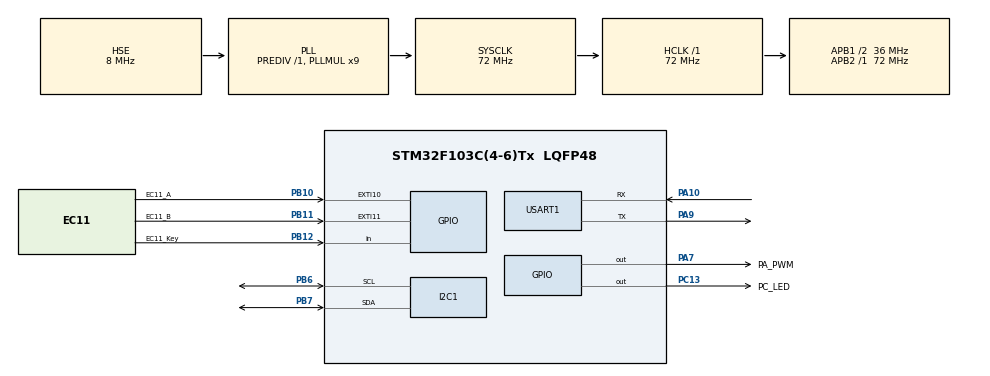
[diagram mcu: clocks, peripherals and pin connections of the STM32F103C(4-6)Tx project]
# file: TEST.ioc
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Mcu.Family=STM32F1
Mcu.Name=STM32F103C(4-6)Tx
Mcu.Package=LQFP48
NVIC.EXTI15_10_IRQn=true\:0\:0\:false\:false\:true\:true\:true\:true
NVIC.PriorityGroup=NVIC_PRIORITYGROUP_4
PA10.Mode=Asynchronous
PA10.Signal=USART1_RX
PA13.Mode=Serial_Wire
PA13.Signal=SYS_JTMS-SWDIO
PA14.Mode=Serial_Wire
PA14.Signal=SYS_JTCK-SWCLK
PA7.GPIO_Label=PA_PWM
PA7.GPIO_PuPd=GPIO_PULLUP
PA7.GPIO_Speed=GPIO_SPEED_FREQ_HIGH
PA7.Signal=GPIO_Output
PA9.Mode=Asynchronous
PA9.Signal=USART1_TX
PB10.GPIO_Label=EC11_A
PB10.GPIO_ModeDefaultEXTI=GPIO_MODE_IT_RISING_FALLING
PB10.GPIO_PuPd=GPIO_PULLUP
PB10.Signal=GPXTI10
PB11.GPIO_Label=EC11_B
PB11.GPIO_ModeDefaultEXTI=GPIO_MODE_IT_FALLING
PB11.GPIO_PuPd=GPIO_PULLUP
PB11.Signal=GPXTI11
PB12.GPIO_Label=EC11_Key
PB12.GPIO_Mode=GPIO_MODE_INPUT
PB12.GPIO_PuPd=GPIO_PULLUP
PB12.Signal=GPIO_Input
PB6.Mode=I2C
PB6.Signal=I2C1_SCL
PB7.Mode=I2C
PB7.Signal=I2C1_SDA
PC13-TAMPER-RTC.GPIO_Label=PC_LED
PC13-TAMPER-RTC.GPIO_ModeDefaultOutputPP=GPIO_MODE_OUTPUT_PP
PC13-TAMPER-RTC.GPIO_PuPd=GPIO_PULLUP
PC13-TAMPER-RTC.GPIO_Speed=GPIO_SPEED_FREQ_LOW
PC13-TAMPER-RTC.Signal=GPIO_Output
PC14-OSC32_IN.Mode=LSE-External-Oscillator
PC14-OSC32_IN.Signal=RCC_OSC32_IN
PC15-OSC32_OUT.Mode=LSE-External-Oscillator
PC15-OSC32_OUT.Signal=RCC_OSC32_OUT
PD0-OSC_IN.Mode=HSE-External-Oscillator
PD0-OSC_IN.Signal=RCC_OSC_IN
PD1-OSC_OUT.Mode=HSE-External-Oscillator
PD1-OSC_OUT.Signal=RCC_OSC_OUT
ProjectManager.HeapSize=0x200
ProjectManager.StackSize=0x400
ProjectManager.TargetToolchain=EWARM V8.32
RCC.AHBFreq_Value=72000000
RCC.APB1CLKDivider=RCC_HCLK_DIV2
RCC.APB1Freq_Value=36000000
RCC.APB1TimFreq_Value=72000000
RCC.APB2Freq_Value=72000000
RCC.APB2TimFreq_Value=72000000
RCC.HCLKFreq_Value=72000000
RCC.PLLMUL=RCC_PLL_MUL9
RCC.PLLSourceVirtual=RCC_PLLSOURCE_HSE
RCC.SYSCLKFreq_VALUE=72000000
RCC.SYSCLKSource=RCC_SYSCLKSOURCE_PLLCLK
RCC.USBFreq_Value=72000000
USART1.VirtualMode=VM_ASYNC
board=custom

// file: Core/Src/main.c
/* USER CODE BEGIN Header */
/**
 ******************************************************************************
 * @file           : main.c
 * @brief          : Main program body
 ******************************************************************************
 * @attention
 *
 * Copyright (c) 2024 STMicroelectronics.
 * All rights reserved.
 *
 * This software is licensed under terms that can be found in the LICENSE file
 * in the root directory of this software component.
 * If no LICENSE file comes with this software, it is provided AS-IS.
 *
 ******************************************************************************
 */
/* USER CODE END Header */
#include "main.h"
#include "i2c.h"
#include "usart.h"
#include "gpio.h"

/* USER CODE BEGIN Includes */
#include "key.h"
#include "oled.h"
/* USER CODE END Includes */

/* USER CODE BEGIN PD */
#define num_line(y, num, rgb) OLED_ShowNum(48, y, num, 2, 16, rgb)
#define string_line(y) OLED_ShowString(72, y, "ms", 16, 0)
#define FLASH_STORAGE_ADDRESS ((uint32_t)0x08007000)
/* USER CODE END PD */

/* USER CODE BEGIN PV */
int optionIndex = 0;           // 菜单索引
int timeValues[3] = {0, 0, 0}; // 脉冲长度
int count_num;
int32_t test_num = 0; // 支持正负数�?�增�???????
uint8_t dir_flag = 2; /*  方向标志 0: 顺时 1: 逆时 2: 未动*/
// uint8_t key_click_flag = 0; // EC11 中键

unsigned short key_value;
/* USER CODE END PV */

void SystemClock_Config(void);
/* USER CODE BEGIN PFP */
void HAL_GPIO_EXTI_Callback(uint16_t GPIO_Pin)
{
  /* Prevent unused argument(s) compilation warning */
  UNUSED(GPIO_Pin);
  static uint8_t count = 0;
  static uint8_t b_flag;
  GPIO_PinState a_value = HAL_GPIO_ReadPin(EC11_A_GPIO_Port, EC11_A_Pin);
  GPIO_PinState b_value = HAL_GPIO_ReadPin(EC11_B_GPIO_Port, EC11_B_Pin);

  if (GPIO_Pin == EC11_A_Pin)
  {
    if (a_value == RESET && count == 0)
    {
      b_flag = 0;
      if (b_value)
        b_flag = 1;
      count = 1;
    }

    if (a_value == SET && count == 1)
    {
      if (b_value == RESET && b_flag == 1)
      { // 逆时针转�???
        test_num--;
        timeValues[optionIndex] = timeValues[optionIndex] > 0 ? timeValues[optionIndex] - 1 : 0;
        dir_flag = 1;
      }
      if (b_value && b_flag == 0)
      { // 顺时针转�???
        test_num++;
        timeValues[optionIndex]++;
        dir_flag = 0;
      }
      count = 0;
    }
  }

  /* EC11中键，按键中�????? */
  // if(GPIO_Pin == EC11_KEY_Pin)
  // {
  // key_click_flag = 1;
  // }
}

// 写入Flash的函�???
HAL_StatusTypeDef WriteToFlash(uint32_t Address, uint32_t Data)
{
  HAL_FLASH_Unlock(); // 解锁Flash
  uint32_t PageError = 0;
  FLASH_EraseInitTypeDef EraseInitStruct;
  EraseInitStruct.TypeErase = FLASH_TYPEERASE_PAGES;
  EraseInitStruct.PageAddress = Address;
  EraseInitStruct.NbPages = 1;                     // 根据您的Flash页大小，这里假设�???1�???
  HAL_FLASHEx_Erase(&EraseInitStruct, &PageError); // 擦除页面
  if (PageError != 0xFFFFFFFF)
  {
    HAL_FLASH_Lock(); // 上锁Flash
    return HAL_ERROR;
  }
  HAL_StatusTypeDef status = HAL_FLASH_Program(FLASH_TYPEPROGRAM_WORD, Address, Data);
  HAL_FLASH_Lock(); // 上锁Flash
  return status;
}

// 从Flash读取数据的函�???
uint32_t ReadFromFlash(uint32_t Address)
{
  return *(__IO uint32_t *)Address; // 直接从指定地�???读取数据
}

/* USER CODE END PFP */

int main(void)
{

  /* USER CODE BEGIN 1 */
  HAL_StatusTypeDef HAL_UART_STATUS;
  uint32_t tick2, tick3;

  /* USER CODE END 1 */

  /* MCU Configuration--------------------------------------------------------*/

  /* Reset of all peripherals, Initializes the Flash interface and the Systick. */
  HAL_Init();

  /* Configure the system clock */
  SystemClock_Config();

  /* Initialize all configured peripherals */
  MX_GPIO_Init();
  MX_USART1_UART_Init();
  MX_I2C1_Init();
  /* USER CODE BEGIN 2 */
  // ######################################################################################################
  uint32_t Main_Fosc = HAL_RCC_GetSysClockFreq();
  printf("Main_Fosc:%luHz \r\n", Main_Fosc);

  uint8_t *str = (uint8_t *)"串口通信测试\r\n";
  HAL_UART_STATUS = HAL_UART_Transmit(&huart1, str, strlen((char *)str), HAL_MAX_DELAY);

  if (HAL_UART_STATUS == HAL_OK)
  {
    str = (uint8_t *)"success\r\n";
    HAL_UART_Transmit(&huart1, str, strlen((char *)str), HAL_MAX_DELAY);
  }

  // 从Flash读取变量
  uint32_t read_value = ReadFromFlash(FLASH_STORAGE_ADDRESS);
  count_num = (int)read_value > 0 ? (int)read_value : 0; // 将读取的值转换回原来的类�???

  HAL_GPIO_WritePin(PA_PWM_GPIO_Port, PA_PWM_Pin, GPIO_PIN_RESET);

  OLED_Init();  // OLED初始
  OLED_Clear(); // 清屏
  // 正相显示6X8--�???12�???0�???  反相显示8X16--�???16�???1�???

  // 显示汉字“脉冲一�???
  OLED_ShowCHinese(0, 0, 0, 0);
  OLED_ShowCHinese(16, 0, 1, 0);
  OLED_ShowCHinese(32, 0, 2, 0);
  num_line(0, 0, 0);
  string_line(0);
  // 显示汉字“间隔�??
  OLED_ShowCHinese(0, 2, 4, 0);
  OLED_ShowCHinese(32, 2, 5, 0);
  num_line(2, 0, 0);
  string_line(2);
  // 显示汉字“脉冲二�???
  OLED_ShowCHinese(0, 4, 0, 0);
  OLED_ShowCHinese(16, 4, 1, 0);
  OLED_ShowCHinese(32, 4, 3, 0);
  num_line(4, 0, 0);
  string_line(4);
  // 显示汉字“计数�??
  OLED_ShowCHinese(0, 6, 6, 0);
  OLED_ShowCHinese(32, 6, 7, 0);
  OLED_ShowNum(56, 6, count_num, 3, 16, 0);
  OLED_ShowNum(96, 0, 1, 1, 12, 0);
  //  #
  //  ######################################################################################################

  /* USER CODE END 2 */

  /* Infinite loop */
  while (1)
  {

    /* USER CODE BEGIN 3 */
    // ######################################################################################################
    if (dir_flag != 2)
    {
      switch (dir_flag)
      {
      case 0:
        printf("顺时针转动\r\n");
        break;
      case 1:
        printf("逆时针转动\r\n");
        break;
      }
      dir_flag = 2;
      printf("num: %d\r\n", test_num);
      num_line(optionIndex * 2, timeValues[optionIndex], 0);
    }
    if (HAL_GetTick() - tick2 >= 1)
    {
      tick2 = HAL_GetTick();
      key_check_all_loop_1ms();
    }
    /* Key按键按下查询 */
    if (HAL_GetTick() - tick3 >= 10)
    {
      tick3 = HAL_GetTick();
      key_value = key_read_value();

      if (key_value == KEY0_UP_SHORT)
      { // 单击事件 切换索引
        printf("\r\nEC11单击\r\n");
        HAL_GPIO_TogglePin(PC_LED_GPIO_Port, PC_LED_Pin);
        optionIndex = (optionIndex + 1) % 3;
        OLED_ShowNum(96, 0, optionIndex + 1, 1, 12, 0);
        // 实现单击KEY
        // test_num++;
      }
      else if (key_value == KEY0_UP_DOUBLE)
      { // 双击事件 切换索引
        printf("\r\nEC11双击\r\n");
        HAL_GPIO_TogglePin(PC_LED_GPIO_Port, PC_LED_Pin);
        timeValues[optionIndex] = 0;
        printf("按键计数清零,项目�???%d val�???%d ms\r\n", optionIndex + 1, timeValues[optionIndex]);
        num_line(optionIndex * 2, 0, 0);
      }
      else if (key_value == KEY0_LONG)
      { // 长按事件 触发脉冲
        printf("\r\nEC11长按\r\n");
        // 实现长按KEY
        count_num++;
        //  双脉�???
        if (timeValues[0] > 0 && timeValues[2] > 0)
        {
          HAL_GPIO_WritePin(PA_PWM_GPIO_Port, PA_PWM_Pin, GPIO_PIN_SET);
          HAL_Delay(timeValues[0]);
          HAL_GPIO_WritePin(PA_PWM_GPIO_Port, PA_PWM_Pin, GPIO_PIN_RESET);
          HAL_Delay(timeValues[1]);
          HAL_GPIO_WritePin(PA_PWM_GPIO_Port, PA_PWM_Pin, GPIO_PIN_SET);
          HAL_Delay(timeValues[2]);
          HAL_GPIO_WritePin(PA_PWM_GPIO_Port, PA_PWM_Pin, GPIO_PIN_RESET);
          // 存储变量到Flash
          if (WriteToFlash(FLASH_STORAGE_ADDRESS, (uint32_t)count_num) != HAL_OK)
          {
            // 处理错误
            printf("\r\n写入数据失败\r\n");
          }
          OLED_ShowNum(56, 6, count_num, 3, 16, 0);
        }
        // 单脉�???
        else if (timeValues[0] > 0)
        {
          HAL_GPIO_WritePin(PA_PWM_GPIO_Port, PA_PWM_Pin, GPIO_PIN_SET);
          HAL_Delay(timeValues[0]);
          HAL_GPIO_WritePin(PA_PWM_GPIO_Port, PA_PWM_Pin, GPIO_PIN_RESET);
          // 存储变量到Flash
          if (WriteToFlash(FLASH_STORAGE_ADDRESS, (uint32_t)count_num) != HAL_OK)
          {
            // 处理错误
            printf("\r\n写入数据失败\r\n");
          }
          OLED_ShowNum(56, 6, count_num, 3, 16, 0);
        }
      }
      // 按钮二
      if (key_value == KEY1_UP_SHORT)
      { // 单击事件
        printf("\r\n按钮单击\r\n");
      }
      else if (key_value == KEY1_UP_DOUBLE)
      { // 双击事件
        printf("\r\n按钮双击\r\n");
      }
      else if (key_value == KEY1_LONG)
      { // 长按事件 触发脉冲
        printf("\r\n按钮长按\r\n");
        // 实现长按KEY
        count_num++;
        //  双脉�???
        if (timeValues[0] > 0 && timeValues[2] > 0)
        {
          HAL_GPIO_WritePin(PA_PWM_GPIO_Port, PA_PWM_Pin, GPIO_PIN_SET);
          HAL_Delay(timeValues[0]);
          HAL_GPIO_WritePin(PA_PWM_GPIO_Port, PA_PWM_Pin, GPIO_PIN_RESET);
          HAL_Delay(timeValues[1]);
          HAL_GPIO_WritePin(PA_PWM_GPIO_Port, PA_PWM_Pin, GPIO_PIN_SET);
          HAL_Delay(timeValues[2]);
          HAL_GPIO_WritePin(PA_PWM_GPIO_Port, PA_PWM_Pin, GPIO_PIN_RESET);
          // 存储变量到Flash
          if (WriteToFlash(FLASH_STORAGE_ADDRESS, (uint32_t)count_num) != HAL_OK)
          {
            // 处理错误
            printf("\r\n写入数据失败\r\n");
          }
          OLED_ShowNum(56, 6, count_num, 3, 16, 0);
        }
        // 单脉�???
        else if (timeValues[0] > 0)
        {
          HAL_GPIO_WritePin(PA_PWM_GPIO_Port, PA_PWM_Pin, GPIO_PIN_SET);
          HAL_Delay(timeValues[0]);
          HAL_GPIO_WritePin(PA_PWM_GPIO_Port, PA_PWM_Pin, GPIO_PIN_RESET);
          // 存储变量到Flash
          if (WriteToFlash(FLASH_STORAGE_ADDRESS, (uint32_t)count_num) != HAL_OK)
          {
            // 处理错误
            printf("\r\n写入数据失败\r\n");
          }
          OLED_ShowNum(56, 6, count_num, 3, 16, 0);
        }
      }
    }
    // ######################################################################################################
  }
  /* USER CODE END 3 */
}

void SystemClock_Config(void)
{
  RCC_OscInitTypeDef RCC_OscInitStruct = {0};
  RCC_ClkInitTypeDef RCC_ClkInitStruct = {0};

  /** Initializes the RCC Oscillators according to the specified parameters
   * in the RCC_OscInitTypeDef structure.
   */
  RCC_OscInitStruct.OscillatorType = RCC_OSCILLATORTYPE_HSE;
  RCC_OscInitStruct.HSEState = RCC_HSE_ON;
  RCC_OscInitStruct.HSEPredivValue = RCC_HSE_PREDIV_DIV1;
  RCC_OscInitStruct.HSIState = RCC_HSI_ON;
  RCC_OscInitStruct.PLL.PLLState = RCC_PLL_ON;
  RCC_OscInitStruct.PLL.PLLSource = RCC_PLLSOURCE_HSE;
  RCC_OscInitStruct.PLL.PLLMUL = RCC_PLL_MUL9;
  if (HAL_RCC_OscConfig(&RCC_OscInitStruct) != HAL_OK)
  {
    Error_Handler();
  }

  /** Initializes the CPU, AHB and APB buses clocks
   */
  RCC_ClkInitStruct.ClockType = RCC_CLOCKTYPE_HCLK | RCC_CLOCKTYPE_SYSCLK | RCC_CLOCKTYPE_PCLK1 | RCC_CLOCKTYPE_PCLK2;
  RCC_ClkInitStruct.SYSCLKSource = RCC_SYSCLKSOURCE_PLLCLK;
  RCC_ClkInitStruct.AHBCLKDivider = RCC_SYSCLK_DIV1;
  RCC_ClkInitStruct.APB1CLKDivider = RCC_HCLK_DIV2;
  RCC_ClkInitStruct.APB2CLKDivider = RCC_HCLK_DIV1;

  if (HAL_RCC_ClockConfig(&RCC_ClkInitStruct, FLASH_LATENCY_2) != HAL_OK)
  {
    Error_Handler();
  }
}

void Error_Handler(void)
{
  __disable_irq();
  while (1)
  {
  }
}
